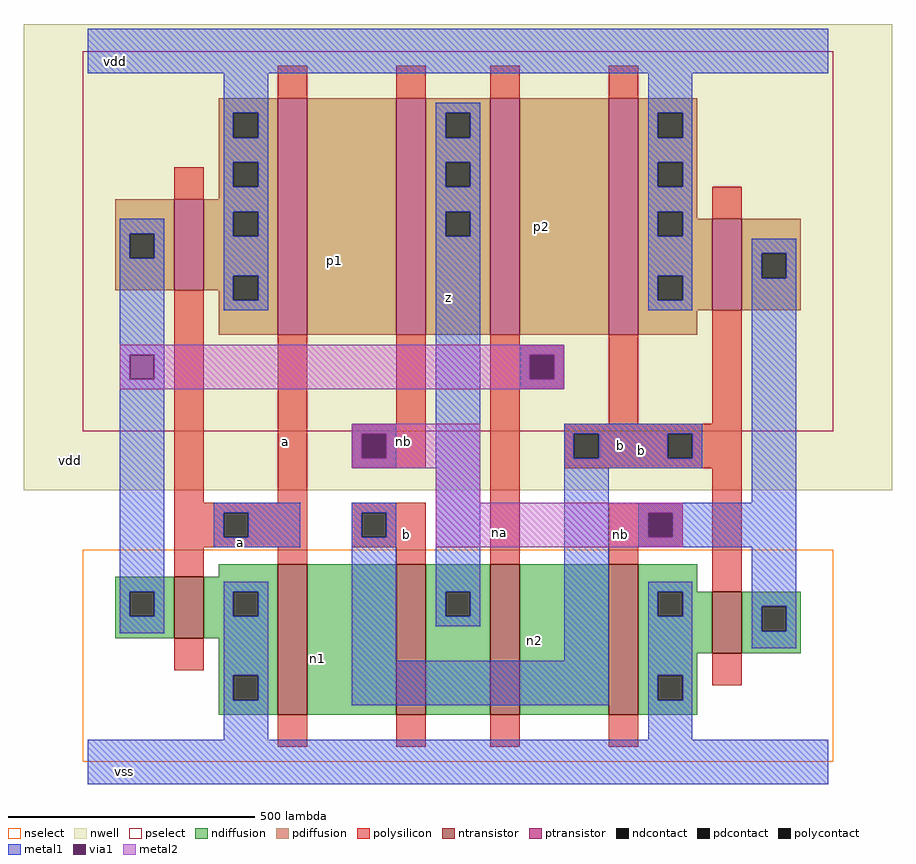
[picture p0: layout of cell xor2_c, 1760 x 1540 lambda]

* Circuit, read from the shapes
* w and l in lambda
.subckt xor2_c z a b vdd vss
M1 vss a na VSUBS nfet w=125 l=60
M2 n1 a vss VSUBS nfet w=305 l=60
M3 z b n1 VSUBS nfet w=305 l=60
M4 n2 na z VSUBS nfet w=305 l=60
M5 vss nb n2 VSUBS nfet w=305 l=60
M6 nb b vss VSUBS nfet w=125 l=60
M7 vdd a na vdd pfet w=185 l=60
M8 p1 a vdd vdd pfet w=480 l=60
M9 z nb p1 vdd pfet w=480 l=60
M10 p2 na z vdd pfet w=480 l=60
M11 vdd b p2 vdd pfet w=480 l=60
M12 nb b vdd vdd pfet w=185 l=60
.ends

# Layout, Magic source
magic
tech amic5n
<< nwell >>
rect -130 550 1630 1495
<< ntransistor >>
rect 175 250 235 375
rect 385 95 445 400
rect 625 95 685 400
rect 815 95 875 400
rect 1055 95 1115 400
rect 1265 220 1325 345
<< ptransistor >>
rect 175 955 235 1140
rect 385 865 445 1345
rect 625 865 685 1345
rect 815 865 875 1345
rect 1055 865 1115 1345
rect 1265 915 1325 1100
<< nselect >>
rect -10 0 1510 430
<< pselect >>
rect -10 670 1510 1440
<< ndiffusion >>
rect 265 375 385 400
rect 55 345 175 375
rect 55 295 85 345
rect 135 295 175 345
rect 55 250 175 295
rect 235 345 385 375
rect 235 295 295 345
rect 345 295 385 345
rect 235 250 385 295
rect 265 175 385 250
rect 265 125 295 175
rect 345 125 385 175
rect 265 95 385 125
rect 445 95 625 400
rect 685 345 815 400
rect 685 295 725 345
rect 775 295 815 345
rect 685 95 815 295
rect 875 95 1055 400
rect 1115 345 1235 400
rect 1115 295 1155 345
rect 1205 295 1265 345
rect 1115 220 1265 295
rect 1325 315 1445 345
rect 1325 265 1365 315
rect 1415 265 1445 315
rect 1325 220 1445 265
rect 1115 175 1235 220
rect 1115 125 1155 175
rect 1205 125 1235 175
rect 1115 95 1235 125
<< pdiffusion >>
rect 265 1315 385 1345
rect 265 1265 295 1315
rect 345 1265 385 1315
rect 265 1215 385 1265
rect 265 1165 295 1215
rect 345 1165 385 1215
rect 265 1140 385 1165
rect 55 1070 175 1140
rect 55 1020 85 1070
rect 135 1020 175 1070
rect 55 955 175 1020
rect 235 1115 385 1140
rect 235 1065 295 1115
rect 345 1065 385 1115
rect 235 985 385 1065
rect 235 955 295 985
rect 265 935 295 955
rect 345 935 385 985
rect 265 865 385 935
rect 445 865 625 1345
rect 685 1315 815 1345
rect 685 1265 725 1315
rect 775 1265 815 1315
rect 685 1215 815 1265
rect 685 1165 725 1215
rect 775 1165 815 1215
rect 685 1115 815 1165
rect 685 1065 725 1115
rect 775 1065 815 1115
rect 685 865 815 1065
rect 875 865 1055 1345
rect 1115 1315 1235 1345
rect 1115 1265 1155 1315
rect 1205 1265 1235 1315
rect 1115 1215 1235 1265
rect 1115 1165 1155 1215
rect 1205 1165 1235 1215
rect 1115 1115 1235 1165
rect 1115 1065 1155 1115
rect 1205 1100 1235 1115
rect 1205 1065 1265 1100
rect 1115 985 1265 1065
rect 1115 935 1155 985
rect 1205 935 1265 985
rect 1115 915 1265 935
rect 1325 1030 1445 1100
rect 1325 980 1365 1030
rect 1415 980 1445 1030
rect 1325 915 1445 980
rect 1115 865 1235 915
<< ndcontact >>
rect 85 295 135 345
rect 295 295 345 345
rect 295 125 345 175
rect 725 295 775 345
rect 1155 295 1205 345
rect 1365 265 1415 315
rect 1155 125 1205 175
<< pdcontact >>
rect 295 1265 345 1315
rect 295 1165 345 1215
rect 85 1020 135 1070
rect 295 1065 345 1115
rect 295 935 345 985
rect 725 1265 775 1315
rect 725 1165 775 1215
rect 725 1065 775 1115
rect 1155 1265 1205 1315
rect 1155 1165 1205 1215
rect 1155 1065 1205 1115
rect 1155 935 1205 985
rect 1365 980 1415 1030
<< polysilicon >>
rect 385 1345 445 1410
rect 625 1345 685 1410
rect 815 1345 875 1410
rect 1055 1345 1115 1410
rect 175 1140 235 1205
rect 175 525 235 955
rect 1265 1100 1325 1165
rect 385 525 445 865
rect 625 685 685 865
rect 535 665 685 685
rect 535 615 555 665
rect 605 615 685 665
rect 535 595 685 615
rect 815 845 875 865
rect 815 825 965 845
rect 815 775 895 825
rect 945 775 965 825
rect 815 755 965 775
rect 175 505 445 525
rect 175 455 275 505
rect 325 455 445 505
rect 175 435 445 455
rect 535 505 685 525
rect 535 455 555 505
rect 605 455 685 505
rect 535 435 685 455
rect 175 375 235 435
rect 385 400 445 435
rect 625 400 685 435
rect 815 400 875 755
rect 1055 685 1115 865
rect 1265 685 1325 915
rect 965 665 1325 685
rect 965 615 985 665
rect 1035 615 1175 665
rect 1225 615 1325 665
rect 965 595 1325 615
rect 1055 505 1205 525
rect 1055 455 1135 505
rect 1185 455 1205 505
rect 1055 435 1205 455
rect 1055 400 1115 435
rect 175 185 235 250
rect 1265 345 1325 595
rect 1265 155 1325 220
rect 385 30 445 95
rect 625 30 685 95
rect 815 30 875 95
rect 1055 30 1115 95
<< polycontact >>
rect 555 615 605 665
rect 895 775 945 825
rect 275 455 325 505
rect 555 455 605 505
rect 985 615 1035 665
rect 1175 615 1225 665
rect 1135 455 1185 505
<< metal1 >>
rect 0 1395 1500 1485
rect 275 1315 365 1395
rect 275 1265 295 1315
rect 345 1265 365 1315
rect 275 1215 365 1265
rect 275 1165 295 1215
rect 345 1165 365 1215
rect 275 1115 365 1165
rect 65 1070 155 1100
rect 65 1020 85 1070
rect 135 1020 155 1070
rect 65 825 155 1020
rect 275 1065 295 1115
rect 345 1065 365 1115
rect 275 985 365 1065
rect 275 935 295 985
rect 345 935 365 985
rect 275 915 365 935
rect 705 1315 795 1335
rect 705 1265 725 1315
rect 775 1265 795 1315
rect 705 1215 795 1265
rect 705 1165 725 1215
rect 775 1165 795 1215
rect 705 1115 795 1165
rect 705 1065 725 1115
rect 775 1065 795 1115
rect 65 775 85 825
rect 135 775 155 825
rect 65 345 155 775
rect 535 665 625 685
rect 535 615 555 665
rect 605 615 625 665
rect 535 595 625 615
rect 255 505 430 525
rect 255 455 275 505
rect 325 455 430 505
rect 255 435 430 455
rect 535 505 625 525
rect 535 455 555 505
rect 605 455 625 505
rect 65 295 85 345
rect 135 295 155 345
rect 65 260 155 295
rect 275 345 365 365
rect 275 295 295 345
rect 345 295 365 345
rect 275 175 365 295
rect 275 125 295 175
rect 345 125 365 175
rect 275 45 365 125
rect 535 205 625 455
rect 705 345 795 1065
rect 1135 1315 1225 1395
rect 1135 1265 1155 1315
rect 1205 1265 1225 1315
rect 1135 1215 1225 1265
rect 1135 1165 1155 1215
rect 1205 1165 1225 1215
rect 1135 1115 1225 1165
rect 1135 1065 1155 1115
rect 1205 1065 1225 1115
rect 1135 985 1225 1065
rect 1135 935 1155 985
rect 1205 935 1225 985
rect 1135 915 1225 935
rect 1345 1030 1435 1060
rect 1345 980 1365 1030
rect 1415 980 1435 1030
rect 875 825 965 845
rect 875 775 895 825
rect 945 775 965 825
rect 875 755 965 775
rect 705 295 725 345
rect 775 295 795 345
rect 705 275 795 295
rect 965 665 1245 685
rect 965 615 985 665
rect 1035 615 1175 665
rect 1225 615 1245 665
rect 965 595 1245 615
rect 965 205 1055 595
rect 1345 525 1435 980
rect 1115 505 1435 525
rect 1115 455 1135 505
rect 1185 455 1435 505
rect 1115 435 1435 455
rect 535 115 1055 205
rect 1135 345 1225 365
rect 1135 295 1155 345
rect 1205 295 1225 345
rect 1135 175 1225 295
rect 1345 315 1435 435
rect 1345 265 1365 315
rect 1415 265 1435 315
rect 1345 230 1435 265
rect 1135 125 1155 175
rect 1205 125 1225 175
rect 1135 45 1225 125
rect 0 -45 1500 45
<< via1 >>
rect 85 775 135 825
rect 555 615 605 665
rect 895 775 945 825
rect 1135 455 1185 505
<< metal2 >>
rect 65 825 965 845
rect 65 775 85 825
rect 135 775 895 825
rect 945 775 965 825
rect 65 755 965 775
rect 535 665 795 685
rect 535 615 555 665
rect 605 615 795 665
rect 535 595 795 615
rect 705 525 795 595
rect 705 505 1205 525
rect 705 455 1135 505
rect 1185 455 1205 505
rect 705 435 1205 455
<< labels >>
flabel polysilicon 645 460 645 460 1 FreeSans 200 0 0 0 b
flabel polysilicon 400 650 400 650 1 FreeSans 200 0 0 0 a
flabel polysilicon 640 650 640 650 1 FreeSans 200 0 0 0 nb
flabel polysilicon 835 465 835 465 1 FreeSans 200 0 0 0 na
flabel polysilicon 1080 460 1080 460 1 FreeSans 200 0 0 0 nb
flabel polysilicon 1080 640 1080 640 1 FreeSans 200 0 0 0 b
flabel metal1 s 310 445 310 445 2 FreeSans 400 0 0 0 a
port 1 ne
flabel metal1 s 1121 630 1121 630 2 FreeSans 400 0 0 0 b
port 2 ne
flabel metal1 s 730 940 730 940 2 FreeSans 400 0 0 0 z
port 0 ne
flabel metal1 s 75 -20 75 -20 2 FreeSans 400 0 0 0 vss
port 4 ne
flabel metal1 s 55 1420 55 1420 2 FreeSans 400 0 0 0 vdd
port 3 ne
flabel nwell -35 610 -35 610 2 FreeSans 400 0 0 0 vdd
flabel ndiffusion s 465 210 465 210 2 FreeSans 200 0 0 0 n1
flabel ndiffusion s 905 245 905 245 2 FreeSans 200 0 0 0 n2
flabel pdiffusion s 500 1015 500 1015 2 FreeSans 200 0 0 0 p1
flabel pdiffusion s 920 1085 920 1085 2 FreeSans 200 0 0 0 p2
<< end >>
